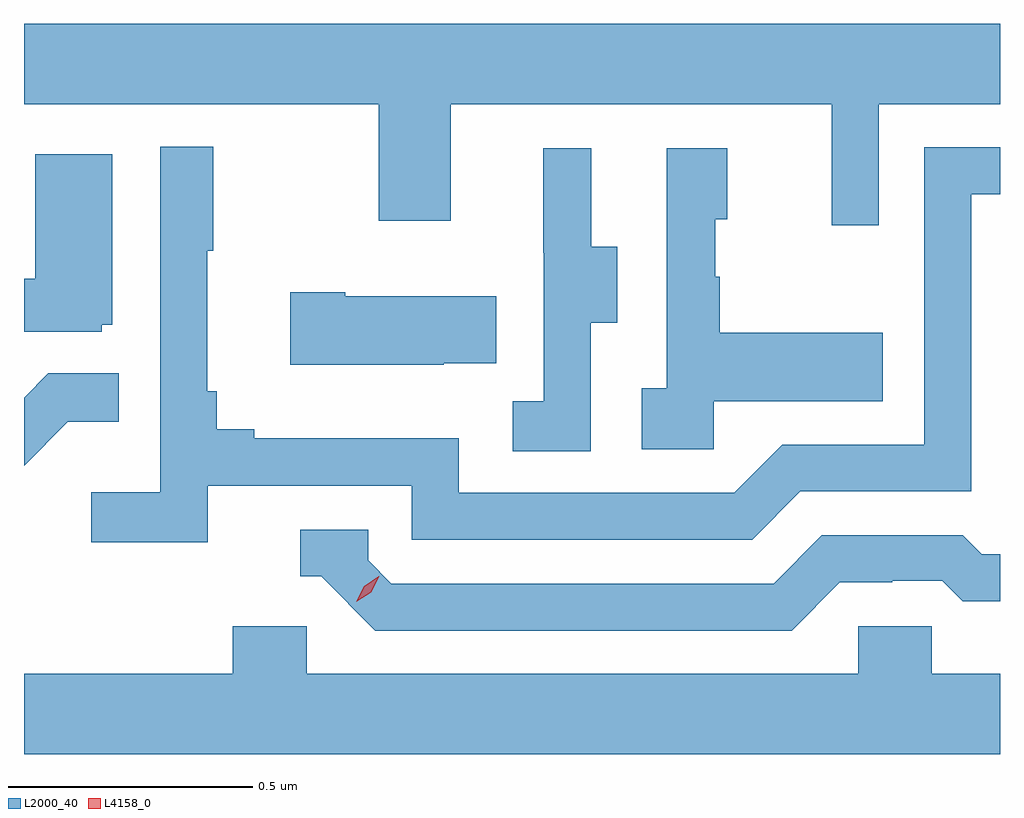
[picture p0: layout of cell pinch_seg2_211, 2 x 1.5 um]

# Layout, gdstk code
import gdstk
lib = gdstk.Library(unit=1e-6, precision=1e-09)
def P(c, l, *ps):  # polygons
    for p in ps: c.add(gdstk.Polygon(p, *l))
L2000_40 = (2000, 40)
L4158_0 = (4158, 0)

pinch_seg2_211 = lib.new_cell('pinch_seg2_211')
P(pinch_seg2_211, L2000_40, [(984.033,659.624),(984.281,659.624),(984.281,659.788),(982.281,659.788),(982.281,659.624),(983.008,659.624),(983.008,659.385),(983.155,659.385),(983.155,659.624),(983.936,659.624),(983.936,659.376),(984.033,659.376)],
  [(982.658,658.842),(983.076,658.842),(983.076,658.731),(983.773,658.731),(983.872,658.83),(984.222,658.83),(984.222,659.439),(984.281,659.439),(984.281,659.535),(984.126,659.535),(984.126,658.926),(983.835,658.926),(983.736,658.827),(983.172,658.827),(983.172,658.939),(982.753,658.939),(982.753,658.958),(982.676,658.958),(982.676,659.035),(982.657,659.035),(982.657,659.323),(982.669,659.323),(982.669,659.536),(982.56,659.536),(982.56,658.828),(982.419,658.828),(982.419,658.726),(982.658,658.726)],
  [(983.694,659.015),(984.041,659.015),(984.041,659.155),(983.707,659.155),(983.707,659.27),(983.697,659.27),(983.697,659.388),(983.722,659.388),(983.722,659.533),(983.598,659.533),(983.598,659.042),(983.547,659.042),(983.547,658.917),(983.694,658.917)],
  [(983.442,659.176),(983.497,659.176),(983.497,659.331),(983.443,659.331),(983.443,659.533),(983.345,659.533),(983.345,659.319),(983.346,659.319),(983.346,659.015),(983.283,659.015),(983.283,658.912),(983.442,658.912)],
  [(982.44,659.172),(982.462,659.172),(982.462,659.521),(982.304,659.521),(982.304,659.266),(982.281,659.266),(982.281,659.157),(982.44,659.157)],
  [(983.141,659.093),(983.249,659.093),(983.249,659.23),(982.939,659.23),(982.939,659.238),(982.827,659.238),(982.827,659.09),(983.141,659.09)],
  [(982.371,658.973),(982.475,658.973),(982.475,659.072),(982.331,659.072),(982.281,659.022),(982.281,658.883)],
  [(983.953,658.644),(984.06,658.644),(984.06,658.647),(984.163,658.647),(984.205,658.605),(984.281,658.605),(984.281,658.701),(984.244,658.701),(984.205,658.74),(983.916,658.74),(983.817,658.641),(983.034,658.641),(982.986,658.689),(982.986,658.752),(982.847,658.752),(982.847,658.656),(982.89,658.656),(983.001,658.545),(983.854,658.545)],
  [(984.281,658.456),(984.141,658.456),(984.141,658.554),(983.991,658.554),(983.991,658.456),(982.86,658.456),(982.86,658.554),(982.709,658.554),(982.709,658.456),(982.281,658.456),(982.281,658.292),(984.281,658.292)])
P(pinch_seg2_211, L4158_0, [(982.962,658.604),(982.962,658.604),(982.978,658.636),(983.008,658.656),(983.009,658.656),(983.009,658.656),(982.993,658.623),(982.962,658.604)])

lib.write_gds('pinch_seg2_211.gds')
